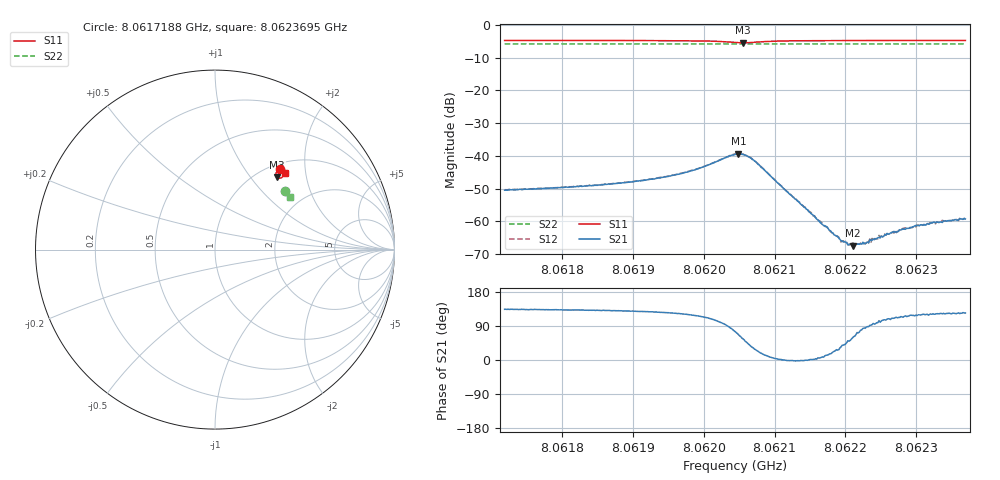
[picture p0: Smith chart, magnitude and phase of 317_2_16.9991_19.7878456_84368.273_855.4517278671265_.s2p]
#  HZ  S  RI  R  50.00
! Rohde & Schwarz Vector Network Analyzer
! Rohde-Schwarz,ZNB20-2Port,1311601062101988,3.16
! Created: UTC 3/20/2024, 11:06:15 PM
! freq[Hz]  re:S11  im:S11  re:S21  im:S21  re:S12  im:S12  re:S22  im:S22
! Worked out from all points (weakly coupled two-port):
!   401 points, 8.0617188 GHz to 8.0623695 GHz, reference 50 ohm
!   highest |S21| = -39.38 dB at 8.062049 GHz (marker M1); lowest = -67.4 dB at 8.0622101 GHz (marker M2)
!   lowest |S11| = -5.5 dB at 8.0620555 GHz (marker M3), VSWR 3.26, Z = 61 + j68.3 ohm
!   |S11| at or under -10 dB: nowhere
!   |S22| runs from -5.9 to -5.8 dB; largest |S21 - S12| = 0.00078
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8.06171881e9  0.3595 0.45  -0.00207 0.00216  -0.00195 0.00232  0.3921 0.3273
8.0618278e9  0.367 0.4435  -0.00229 0.00253  -0.00214 0.00275  0.3961 0.3219
8.06189612e9  0.3723 0.4383  -0.00249 0.00309  -0.00235 0.00329  0.3988 0.3184
8.06193678e9  0.3757 0.4339  -0.00271 0.00372  -0.00253 0.00392  0.4003 0.3163
8.06198721e9  0.3801 0.424  -0.00282 0.00541  -0.00255 0.00564  0.4022 0.3133
8.06204414e9  0.361 0.3976  0.00267 0.0101  0.00343 0.0102  0.403 0.3098
8.06204903e9  0.3546 0.3981  0.0042 0.00989  0.00485 0.00962  0.4028 0.3095
8.06205553e9  0.3465 0.4021  0.00592 0.00866  0.00646 0.00849  0.4028 0.3095
8.06206367e9  0.3399 0.4112  0.00722 0.00637  0.00766 0.00587  0.4029 0.3097
8.06207343e9  0.3391 0.423  0.00724 0.00371  0.00751 0.00313  0.4032 0.3098
8.06215313e9  0.3681 0.4384  0.00128 2.25e-05  0.0013 -4.69e-05  0.4074 0.3063
8.06216615e9  0.3702 0.4376  0.000919 0.000117  0.000963 5.86e-05  0.4081 0.3057
8.06219543e9  0.3742 0.4358  0.000393 0.000317  0.000415 0.000271  0.4091 0.3042
8.06220193e9  0.3751 0.4353  0.000328 0.00034  0.000353 0.000327  0.4094 0.3039
8.06221007e9  0.3759 0.4347  0.000225 0.000363  0.000275 0.00038  0.4098 0.3034
8.06221657e9  0.3766 0.4344  0.000136 0.00043  0.000165 0.000424  0.4101 0.3032
8.06222633e9  0.3777 0.4337  4.39e-05 0.000458  0.000109 0.000461  0.4103 0.3026
8.06226212e9  0.3808 0.4316  -0.000205 0.00061  -0.000183 0.000633  0.4118 0.3007
8.06228327e9  0.3826 0.4303  -0.000325 0.000689  -0.000295 0.000733  0.4125 0.2997
8.06229953e9  0.3837 0.4293  -0.000412 0.000764  -0.000371 0.000737  0.4129 0.2989
8.06233857e9  0.3865 0.4274  -0.000553 0.000847  -0.000521 0.000876  0.4144 0.2968
8.06236948e9  0.3886 0.4255  -0.00061 0.000904  -0.000537 0.000954  0.4153 0.2953
